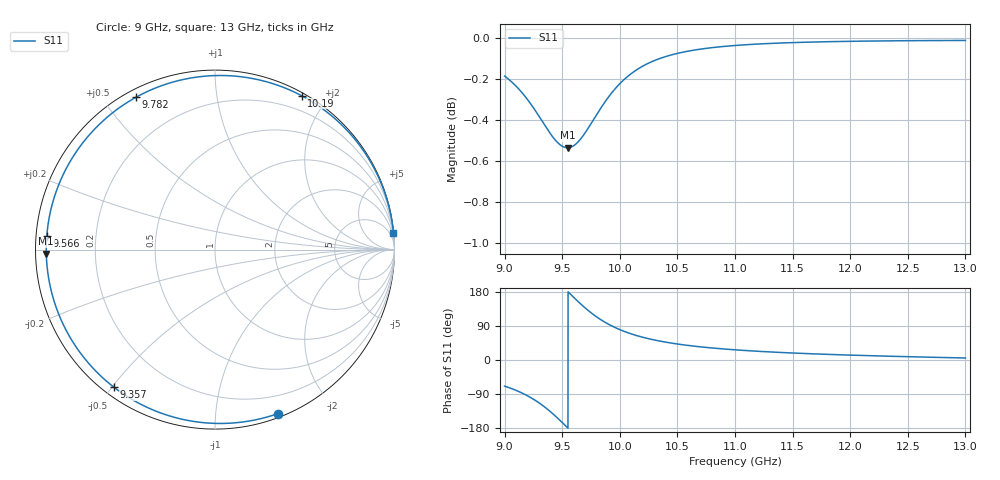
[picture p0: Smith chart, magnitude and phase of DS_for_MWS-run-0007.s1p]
! TOUCHSTONE file generated by CST DESIGN STUDIO
! Date and time: Tue Feb  4 16:01:42 2025
! Project name: C:\Work\MatlabApps\UnitCellOptimizationMatlab\CST\unitcell.cst
! Tree item: Tasks\Sweep1\SPara1\S-Parameters
! Header version: 2024
! Port assignment regex: !\s*Touchstone port\s*([0-9]+)\s*=\s*(CST MWS port|CST DES external port|CST DES block port)\s*(.+)\s* \(\"(.*)\"\)(\s*mode\s*([0-9]+))?.*
! Touchstone port assignment:
! Touchstone port 1 = CST DES external port 1 ("")
# GHz S MA R 50
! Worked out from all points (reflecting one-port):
!   4001 points, 9 GHz to 13 GHz, reference 50 ohm
!   lowest |S11| = -0.5 dB at 9.546 GHz (marker M1), VSWR 32.47, Z = 1.54 - j0.592 ohm
!   phase of S11 starts at -69 deg and turns -286 deg over the sweep
!   S11 on the Smith chart (normalised r, x): 9 GHz: 0.03, -1.46; 9.357 GHz: 0.03, -0.51; 9.566 GHz: 0.03, +0.04; 9.782 GHz: 0.03, +0.61; 10.19 GHz: 0.03, +1.71; 13 GHz: 0, +22
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9  0.9788 -69.0
9.102  0.9731 -80.5
9.212  0.9649 -96.7
9.288  0.958 -110.9
9.357  0.9514 -126.2
9.426  0.9453 -143.9
9.465  0.9427 -154.8
9.5  0.9411 -164.9
9.546  0.9402 -178.6
9.566  0.9404 175.4
9.62  0.9423 159.4
9.681  0.9466 142.2
9.731  0.9511 129.3
9.782  0.9562 117.4
9.829  0.9608 107.6
9.879  0.9654 98.3
9.935  0.97 89.2
10  0.9746 80.2
10.091  0.9797 69.8
10.191  0.9839 60.7
10.332  0.9881 50.8
10.5  0.9912 42.2
10.721  0.9938 34.0
11  0.9956 26.8
11.5  0.9973 18.4
12  0.998 12.9
12.5  0.9983 8.7
13  0.9984 5.3
